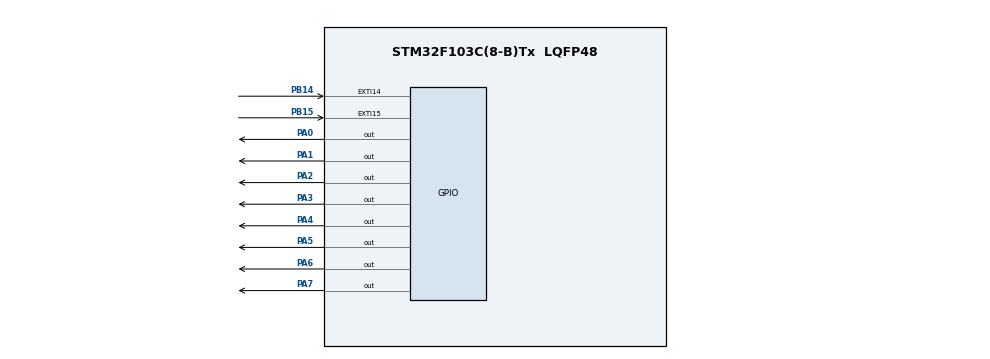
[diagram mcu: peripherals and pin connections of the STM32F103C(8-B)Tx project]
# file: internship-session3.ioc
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Mcu.Family=STM32F1
Mcu.Name=STM32F103C(8-B)Tx
Mcu.Package=LQFP48
NVIC.EXTI15_10_IRQn=true\:0\:0\:false\:false\:true\:true\:true\:true
NVIC.PriorityGroup=NVIC_PRIORITYGROUP_4
PA0-WKUP.Signal=GPIO_Output
PA1.Signal=GPIO_Output
PA2.Signal=GPIO_Output
PA3.Signal=GPIO_Output
PA4.Signal=GPIO_Output
PA5.Signal=GPIO_Output
PA6.Signal=GPIO_Output
PA7.Signal=GPIO_Output
PB14.GPIO_ModeDefaultEXTI=GPIO_MODE_IT_FALLING
PB14.Signal=GPXTI14
PB15.GPIO_ModeDefaultEXTI=GPIO_MODE_IT_FALLING
PB15.Signal=GPXTI15
ProjectManager.HeapSize=0x200
ProjectManager.StackSize=0x400
ProjectManager.TargetToolchain=STM32CubeIDE
RCC.APB1Freq_Value=8000000
RCC.APB2Freq_Value=8000000
board=custom

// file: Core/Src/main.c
/* USER CODE BEGIN Header */
/**
  ******************************************************************************
  * @file           : main.c
  * @brief          : Main program body
  ******************************************************************************
  * @attention
  *
  * Copyright (c) 2026 STMicroelectronics.
  * All rights reserved.
  *
  * This software is licensed under terms that can be found in the LICENSE file
  * in the root directory of this software component.
  * If no LICENSE file comes with this software, it is provided AS-IS.
  *
  ******************************************************************************
  */
/* USER CODE END Header */
#include "main.h"

/* USER CODE BEGIN PV */

uint8_t led = 0x01;

/* USER CODE END PV */

void SystemClock_Config(void);
static void MX_GPIO_Init(void);
/* USER CODE BEGIN PFP */

void DisplayLED(uint8_t value);

/* USER CODE END PFP */

/* USER CODE BEGIN 0 */

void DisplayLED(uint8_t value)
{
    HAL_GPIO_WritePin(GPIOA, GPIO_PIN_0, (value & 0x80) ? GPIO_PIN_SET : GPIO_PIN_RESET);
    HAL_GPIO_WritePin(GPIOA, GPIO_PIN_1, (value & 0x40) ? GPIO_PIN_SET : GPIO_PIN_RESET);
    HAL_GPIO_WritePin(GPIOA, GPIO_PIN_2, (value & 0x20) ? GPIO_PIN_SET : GPIO_PIN_RESET);
    HAL_GPIO_WritePin(GPIOA, GPIO_PIN_3, (value & 0x10) ? GPIO_PIN_SET : GPIO_PIN_RESET);
    HAL_GPIO_WritePin(GPIOA, GPIO_PIN_4, (value & 0x08) ? GPIO_PIN_SET : GPIO_PIN_RESET);
    HAL_GPIO_WritePin(GPIOA, GPIO_PIN_5, (value & 0x04) ? GPIO_PIN_SET : GPIO_PIN_RESET);
    HAL_GPIO_WritePin(GPIOA, GPIO_PIN_6, (value & 0x02) ? GPIO_PIN_SET : GPIO_PIN_RESET);
    HAL_GPIO_WritePin(GPIOA, GPIO_PIN_7, (value & 0x01) ? GPIO_PIN_SET : GPIO_PIN_RESET);
}

/* USER CODE END 0 */

int main(void)
{

  /* MCU Configuration--------------------------------------------------------*/

  /* Reset of all peripherals, Initializes the Flash interface and the Systick. */
  HAL_Init();

  /* Configure the system clock */
  SystemClock_Config();

  /* Initialize all configured peripherals */
  MX_GPIO_Init();
  /* USER CODE BEGIN 2 */

  DisplayLED(led);

  /* USER CODE END 2 */

  /* Infinite loop */
  while (1)
  {

  }
}

void SystemClock_Config(void)
{
  RCC_OscInitTypeDef RCC_OscInitStruct = {0};
  RCC_ClkInitTypeDef RCC_ClkInitStruct = {0};

  /** Initializes the RCC Oscillators according to the specified parameters
  * in the RCC_OscInitTypeDef structure.
  */
  RCC_OscInitStruct.OscillatorType = RCC_OSCILLATORTYPE_HSI;
  RCC_OscInitStruct.HSIState = RCC_HSI_ON;
  RCC_OscInitStruct.HSICalibrationValue = RCC_HSICALIBRATION_DEFAULT;
  RCC_OscInitStruct.PLL.PLLState = RCC_PLL_NONE;
  if (HAL_RCC_OscConfig(&RCC_OscInitStruct) != HAL_OK)
  {
    Error_Handler();
  }

  /** Initializes the CPU, AHB and APB buses clocks
  */
  RCC_ClkInitStruct.ClockType = RCC_CLOCKTYPE_HCLK|RCC_CLOCKTYPE_SYSCLK
                              |RCC_CLOCKTYPE_PCLK1|RCC_CLOCKTYPE_PCLK2;
  RCC_ClkInitStruct.SYSCLKSource = RCC_SYSCLKSOURCE_HSI;
  RCC_ClkInitStruct.AHBCLKDivider = RCC_SYSCLK_DIV1;
  RCC_ClkInitStruct.APB1CLKDivider = RCC_HCLK_DIV1;
  RCC_ClkInitStruct.APB2CLKDivider = RCC_HCLK_DIV1;

  if (HAL_RCC_ClockConfig(&RCC_ClkInitStruct, FLASH_LATENCY_0) != HAL_OK)
  {
    Error_Handler();
  }
}

static void MX_GPIO_Init(void)
{
  GPIO_InitTypeDef GPIO_InitStruct = {0};

  /* GPIO Ports Clock Enable */
  __HAL_RCC_GPIOA_CLK_ENABLE();
  __HAL_RCC_GPIOB_CLK_ENABLE();

  /*Configure GPIO pin Output Level */
  HAL_GPIO_WritePin(GPIOA, GPIO_PIN_0|GPIO_PIN_1|GPIO_PIN_2|GPIO_PIN_3
                          |GPIO_PIN_4|GPIO_PIN_5|GPIO_PIN_6|GPIO_PIN_7, GPIO_PIN_RESET);

  /*Configure GPIO pins : PA0 PA1 PA2 PA3
                           PA4 PA5 PA6 PA7 */
  GPIO_InitStruct.Pin = GPIO_PIN_0|GPIO_PIN_1|GPIO_PIN_2|GPIO_PIN_3
                          |GPIO_PIN_4|GPIO_PIN_5|GPIO_PIN_6|GPIO_PIN_7;
  GPIO_InitStruct.Mode = GPIO_MODE_OUTPUT_PP;
  GPIO_InitStruct.Pull = GPIO_NOPULL;
  GPIO_InitStruct.Speed = GPIO_SPEED_FREQ_LOW;
  HAL_GPIO_Init(GPIOA, &GPIO_InitStruct);

  /*Configure GPIO pins : PB14 PB15 */
  GPIO_InitStruct.Pin = GPIO_PIN_14 | GPIO_PIN_15;
  GPIO_InitStruct.Mode = GPIO_MODE_IT_RISING;
  GPIO_InitStruct.Pull = GPIO_NOPULL;
  HAL_GPIO_Init(GPIOB, &GPIO_InitStruct);

  /* EXTI interrupt init*/
  HAL_NVIC_SetPriority(EXTI15_10_IRQn, 0, 0);
  HAL_NVIC_EnableIRQ(EXTI15_10_IRQn);

}

/* USER CODE BEGIN 4 */

void HAL_GPIO_EXTI_Callback(uint16_t GPIO_Pin)
{
    if(GPIO_Pin == GPIO_PIN_14)     // Left Button
    {
        led = (led << 1) | (led >> 7);
        DisplayLED(led);
    }
    else if(GPIO_Pin == GPIO_PIN_15) // Right Button
    {
        led = (led >> 1) | (led << 7);
        DisplayLED(led);
    }
}

/* USER CODE END 4 */

void Error_Handler(void)
{
  __disable_irq();
  while (1)
  {
  }
}
